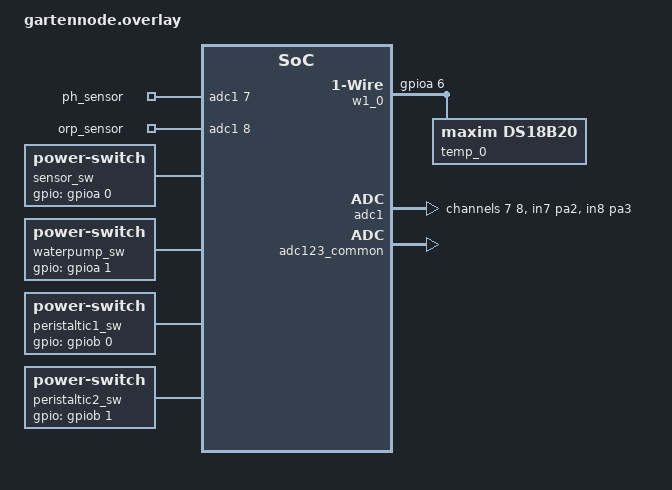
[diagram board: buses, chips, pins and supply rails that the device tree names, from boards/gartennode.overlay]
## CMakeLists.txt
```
cmake_minimum_required(VERSION 3.20.0)

list(APPEND BOARD_ROOT ${CMAKE_CURRENT_SOURCE_DIR})

macro(app_set_runner_args)
  board_runner_args(canopen "--node-id=${CONFIG_CANOPEN_NODE_ID}")
endmacro()

find_package(Zephyr REQUIRED HINTS $ENV{ZEPHYR_BASE})
project(gartennode_Poolmodul)
FILE(GLOB app_sources src/*.c)
if(NOT CONFIG_BOARD_NATIVE_SIM)
  list(FILTER app_sources EXCLUDE REGEX "/native_sim_ds18b20\\.c$")
endif()
target_sources(app PRIVATE ${app_sources} objdict/CO_OD.c)
zephyr_include_directories(objdict src)
```

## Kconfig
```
#
# Copyright (c) 2019 Vestas Wind Systems A/S
#
# SPDX-License-Identifier: Apache-2.0
#

config CANOPEN_NODE_ID
	int "CANopen node ID"
	default 10
	range 1 127
	help
	  7-bit CANopen Node ID

config CANOPEN_LOG_LEVEL
	int "CANopen application log level"
	default 4
	range 0 4
	help
	  Log level used by application modules that handle CANopen data.

config APP_NATIVE_SIM_PH_GAIN_MV_PER_PH
	int "Native-sim pH sensor gain (mV per pH)"
	default 150
	range 1 1000
	help
	  Test-only pH sensor transfer gain. This is independent of CANopen calibration.

config APP_NATIVE_SIM_PH_OFFSET_MV
	int "Native-sim pH sensor offset (mV)"
	default 600
	range 0 3300

config APP_NATIVE_SIM_ORP_GAIN_PER_MV
	int "Native-sim ORP sensor gain in milli-units"
	default 1000
	range 1 10000
	help
	  1000 represents unity voltage gain (1 mV at input produces 1 mV at ADC).

config APP_NATIVE_SIM_ORP_OFFSET_MV
	int "Native-sim ORP sensor offset (mV)"
	default 1650
	range 0 3300

config APP_NATIVE_SIM_IPC_PORT
	int "Native-sim sensor IPC UDP port"
	default 46003
	range 1024 65535

config APP_NATIVE_SIM_COMPANION_IPC_PORT
	int "Native-sim companion IPC UDP port"
	default 46004
	range 1024 65535

config POOL_UPDATE_DIAGNOSTICS
	bool "Record CANopen update timing and reset causes"
	depends on CANOPENNODE_PROGRAM_DOWNLOAD && SOC_FAMILY_STM32
	select HWINFO
	select LOG_RUNTIME_FILTERING
	help
	  Record download progress and callback latency without changing the
	  flash operation. Suppress sensor log noise to preserve diagnostic
	  buffer space. Intended for hardware update regression tests.

# Match the installed Gartennode MCUboot, not Zephyr's offset-swap default.
# Defaults also leave native_sim, which does not use MCUboot, unaffected.
choice MCUBOOT_BOOTLOADER_MODE
	default MCUBOOT_BOOTLOADER_MODE_SWAP_SCRATCH if BOARD_GARTENNODE && BOOTLOADER_MCUBOOT
endchoice

config MCUBOOT_IMGTOOL_SIGN_VERSION
	default "0.1.0" if BOARD_GARTENNODE && BOOTLOADER_MCUBOOT

config MCUBOOT_EXTRA_IMGTOOL_ARGS
	default "--pad" if BOARD_GARTENNODE && BOOTLOADER_MCUBOOT

source "Kconfig.zephyr"
```

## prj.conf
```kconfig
# Print a banner on the UART on startup.
CONFIG_BOOT_BANNER=y

CONFIG_LOG=y
CONFIG_LOG_BACKEND_UART=y
CONFIG_MULTITHREADING=y
CONFIG_WATCHDOG=y
CONFIG_TASK_WDT=y
CONFIG_TASK_WDT_MIN_TIMEOUT=500
CONFIG_THREAD_NAME=y
CONFIG_HEAP_MEM_POOL_SIZE=1024

CONFIG_GPIO=y
CONFIG_ADC=y
CONFIG_W1=y
CONFIG_SENSOR=y
CONFIG_SENSOR_LOG_LEVEL_DBG=y

CONFIG_CAN=y
#CONFIG_CAN_MAX_FILTER=13

CONFIG_MAIN_STACK_SIZE=2048

CONFIG_CANOPENNODE=y
CONFIG_CANOPENNODE_SYNC_THREAD=y
CONFIG_CANOPENNODE_STORAGE=y
CONFIG_CANOPENNODE_LEDS=y
CONFIG_CANOPENNODE_PROGRAM_DOWNLOAD=y
CONFIG_CANOPEN_NODE_ID=9

CONFIG_LOG_PRINTK=y
CONFIG_REBOOT=y
CONFIG_UART_CONSOLE=y
CONFIG_SERIAL=y
CONFIG_CONSOLE=y
# Enable Zephyr application to be booted by MCUboot
CONFIG_BOOTLOADER_MCUBOOT=y

# PROGRAM_CTRL_CLEAR erases the complete secondary slot before download.
# Do not erase sectors again while handling SDO data.
CONFIG_IMG_ERASE_PROGRESSIVELY=n
CONFIG_STREAM_FLASH_ERASE=n

# Use the default MCUBoot PEM key file (BOOT_SIGNATURE_KEY_FILE)
CONFIG_MCUBOOT_SIGNATURE_KEY_FILE="bootloader/mcuboot/gartennode.pem"
```

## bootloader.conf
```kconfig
# Gartennode has a 192 KiB external secondary slot and a separate scratch area.
CONFIG_BOOT_SWAP_USING_SCRATCH=y
CONFIG_BOOT_SIGNATURE_TYPE_ED25519=y
CONFIG_BOOT_SIGNATURE_KEY_FILE="gartennode.pem"
CONFIG_BOOT_VALIDATE_SLOT0=y
# Preserve the existing bootloader policy; the application's watchdog is separate.
CONFIG_WATCHDOG=n
```

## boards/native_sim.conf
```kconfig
CONFIG_BOOTLOADER_MCUBOOT=n
CONFIG_CANOPENNODE_PROGRAM_DOWNLOAD=n
CONFIG_MCUBOOT_SIGNATURE_KEY_FILE=""
CONFIG_WDT_DISABLE_AT_BOOT=n
CONFIG_WATCHDOG=n
CONFIG_WDT_LOG_LEVEL_DBG=n
CONFIG_EMUL=y
CONFIG_UART_EMUL=y
CONFIG_CAN_NATIVE_UDP=y
CONFIG_CAN=y
CONFIG_CAN_LOOPBACK=y
CONFIG_SETTINGS=y
CONFIG_FLASH=y
CONFIG_FLASH_PAGE_LAYOUT=y
CONFIG_FLASH_MAP=y
CONFIG_NVS=y
CONFIG_CANOPENNODE_STORAGE=y
# Keep the CANopen loop ahead of the UDP RX worker after a wakeup.
CONFIG_CAN_NATIVE_UDP_RX_THREAD_PRIORITY=1

CONFIG_APP_NATIVE_SIM_ORP_OFFSET_MV=1320
```

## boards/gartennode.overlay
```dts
/*
 * Copyright (c) 2022 Google LLC.
 *
 * SPDX-License-Identifier: Apache-2.0
 */

/ {
	zephyr,user {
		io-channels = <&adc1 7>, <&adc1 8>;
		io-channel-names = "ph_sensor", "orp_sensor";
	};
	sensor_sw: sensor_sw {
		compatible = "power-switch";
		gpios = <&gpioa 0 (GPIO_PULL_DOWN | GPIO_ACTIVE_HIGH)>;
		status = "okay";
	};
	waterpump_sw: waterpump_sw {
		compatible = "power-switch";
		gpios = <&gpioa 1 (GPIO_PULL_DOWN | GPIO_ACTIVE_HIGH)>;
		status = "okay";
	};

	peristaltic1_sw: peristaltic1_sw {
		compatible = "power-switch";
		/* using built-in LED pin for demonstration */
		gpios = <&gpiob 0 (GPIO_PULL_DOWN | GPIO_ACTIVE_HIGH)>;
		status = "okay";
	};
	peristaltic2_sw: peristaltic2_sw {
		compatible = "power-switch";
		gpios = <&gpiob 1 (GPIO_PULL_DOWN | GPIO_ACTIVE_HIGH)>;
		status = "okay";
	};

	w1_0: w1-zephyr-gpio-0 {
		compatible = "zephyr,w1-gpio";
		gpios = <&gpioa 6 (GPIO_ACTIVE_HIGH|GPIO_OPEN_DRAIN|GPIO_PULL_UP)>;
		status = "okay";

		temp_0: ds18b200 {
			compatible = "maxim,ds18b20";
			family-code = <0x28>;
			resolution = <12>;
			status = "okay";
		};
	};

	aliases {
		green-led = &green_led;
	};
};

&adc1 {
	#address-cells = <1>;
	#size-cells = <0>;

	/* pinctrl-0 = <&adc1_in5_pa0 &adc1_in6_pa1 &adc1_in7_pa2 &adc1_in8_pa3 &adc1_in9_pa4 &adc1_in10_pa5 &adc1_in11_pa6 &adc1_in12_pa7>; */
	pinctrl-0 = <&adc1_in7_pa2 &adc1_in8_pa3>;
	pinctrl-names = "default";
	status = "okay";

	channel@7 {
		reg = <7>;
		zephyr,gain = "ADC_GAIN_1";
		zephyr,reference = "ADC_REF_INTERNAL";
		zephyr,acquisition-time = <ADC_ACQ_TIME_DEFAULT>;
		zephyr,resolution = <12>;
	};

	channel@8 {
		reg = <8>;
		zephyr,gain = "ADC_GAIN_1";
		zephyr,reference = "ADC_REF_INTERNAL";
		zephyr,acquisition-time = <ADC_ACQ_TIME_DEFAULT>;
		zephyr,resolution = <12>;
	};
};

&adc123_common {
	st,adc-clock-source = "SYNC";
	st,adc-prescaler = <4>;
	status = "okay";
};
```

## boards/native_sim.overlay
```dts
/ {
	chosen {
		zephyr,canbus = &can_udp0;
	};

	zephyr,user {
		io-channels = <&adc0 0>, <&adc0 1>;
		io-channel-names = "ph_sensor", "orp_sensor";
	};

	can_udp0: udp-can {
		compatible = "zephyr,native-linux-udp-can";
		host = "127.0.0.1";
		port = <4001>;
		local-port = <4002>;
		status = "okay";
	};

	sensor_sw: sensor_sw {
		compatible = "power-switch";
		gpios = <&gpio0 0 (GPIO_PULL_DOWN | GPIO_ACTIVE_HIGH)>;
		status = "okay";
	};

	waterpump_sw: waterpump_sw {
		compatible = "power-switch";
		gpios = <&gpio0 1 (GPIO_PULL_DOWN | GPIO_ACTIVE_HIGH)>;
		status = "okay";
	};

	peristaltic1_sw: peristaltic1_sw {
		compatible = "power-switch";
		gpios = <&gpio0 2 (GPIO_PULL_DOWN | GPIO_ACTIVE_HIGH)>;
		status = "okay";
	};

	peristaltic2_sw: peristaltic2_sw {
		compatible = "power-switch";
		gpios = <&gpio0 3 (GPIO_PULL_DOWN | GPIO_ACTIVE_HIGH)>;
		status = "okay";
	};

	uart_emul: uart-emul {
		compatible = "zephyr,uart-emul";
		current-speed = <115200>;
		rx-fifo-size = <64>;
		tx-fifo-size = <64>;
		status = "okay";

		w1_0: w1-bus {
			compatible = "zephyr,w1-serial";
			status = "okay";

			temp_0: ds18b200 {
				compatible = "maxim,ds18b20";
				family-code = <0x28>;
				resolution = <12>;
				status = "okay";
			};
		};
	};

	aliases {
		green-led = &led0;
	};
};

&adc0 {
	#address-cells = <1>;
	#size-cells = <0>;
	status = "okay";
	ref-internal-mv = <3300>;

	channel@0 {
		reg = <0>;
		zephyr,gain = "ADC_GAIN_1";
		zephyr,reference = "ADC_REF_INTERNAL";
		zephyr,acquisition-time = <ADC_ACQ_TIME_DEFAULT>;
		zephyr,resolution = <12>;
	};

	channel@1 {
		reg = <1>;
		zephyr,gain = "ADC_GAIN_1";
		zephyr,reference = "ADC_REF_INTERNAL";
		zephyr,acquisition-time = <ADC_ACQ_TIME_DEFAULT>;
		zephyr,resolution = <12>;
	};
};
```

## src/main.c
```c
/*
 * Copyright (c) 2019 Vestas Wind Systems A/S
 *
 * SPDX-License-Identifier: Apache-2.0
 */

#if defined(CONFIG_BOARD_NATIVE_SIM)
#define _POSIX_C_SOURCE 200809L
#include <time.h>
#endif

#include <inttypes.h>
#include <zephyr/kernel.h>
#include <zephyr/drivers/gpio.h>
#include <zephyr/sys/reboot.h>
#include <zephyr/settings/settings.h>
#include <zephyr/drivers/sensor.h>
#include <zephyr/drivers/sensor/w1_sensor.h>
#include <zephyr/storage/flash_map.h>
#include <zephyr/sys/printk.h>
#include <canopennode.h>
#if defined(CONFIG_BOARD_NATIVE_SIM)
K_SEM_DEFINE(can_rx_wakeup, 0, 1);
static void native_sim_can_rx_wakeup(void)
{
	k_sem_give(&can_rx_wakeup);
}

static int64_t native_sim_monotonic_ms(void)
{
	struct timespec now;

	clock_gettime(CLOCK_MONOTONIC, &now);
	return (int64_t)now.tv_sec * 1000 + now.tv_nsec / 1000000;
}
#endif
#include "watchdog.h"
#include "update_control.h"
#include "update_diagnostics.h"
#include "sensor.h"
#include "orp_measurement.h"
#include "ph_measurement.h"
#include "temperature_measurement.h"
#if defined(CONFIG_BOARD_NATIVE_SIM)
#include "native_sim_sensor.h"
#endif
#include "waterpump.h"
#include "led.h"

#define LOG_LEVEL CONFIG_CANOPEN_LOG_LEVEL
#include <zephyr/logging/log.h>
LOG_MODULE_REGISTER(app);

static CO_SDO_abortCode_t odf_2102(CO_ODF_arg_t *odf_arg);
static CO_SDO_abortCode_t odf_2103(CO_ODF_arg_t *odf_arg);
static CO_SDO_abortCode_t odf_2108(CO_ODF_arg_t *odf_arg);
static CO_SDO_abortCode_t odf_2112(CO_ODF_arg_t *odf_arg);

#define STORAGE_PARTITION	storage_partition
#define STORAGE_PARTITION_ID	PARTITION_ID(STORAGE_PARTITION)

#define CAN_INTERFACE DEVICE_DT_GET(DT_CHOSEN(zephyr_canbus))
#define CAN_BITRATE (DT_PROP_OR(DT_CHOSEN(zephyr_canbus), bitrate, \
					  DT_PROP_OR(DT_CHOSEN(zephyr_canbus), bus_speed, \
						     CONFIG_CAN_DEFAULT_BITRATE)) / 1000)


/**
 * @brief Watchdog callback function
 *
 * @param channel_id Watchdog channel ID
 * @param user_data Pointer to user data (thread ID)
 */
static void main_watchdog_callback(int channel_id, void *user_data)
{
    LOG_ERR("Watchdog channel %d callback, user data: %p",
        channel_id, k_thread_name_get((k_tid_t)user_data));
	sys_reboot(SYS_REBOOT_COLD);
}

/**
 * @brief Configure LED indicators pins and callbacks.
 *
 * This routine configures the GPIOs for the red and green LEDs (if
 * available).
 *
 * @param nmt CANopenNode NMT object.
 */
static void initialize()
{
	if (led_init() != 0) {
		LOG_ERR("LED initialization failed");
	}
#if defined(CONFIG_BOARD_NATIVE_SIM)
	/* Bind the virtual sensor IPC before the sensor thread reads its EEPROM ID. */
	if (native_sim_sensor_init() != 0) {
		LOG_ERR("Native-sim sensor model initialization failed");
	}
#endif
	if (sensor_init() != 0) {
		LOG_ERR("Sensor initialization failed");
	}
	if (waterpump_init() != 0) {
		LOG_ERR("Waterpump initialization failed");
	}
	// if (watchdog_init() != 0) {
	// 	LOG_ERR("Watchdog initialization failed");
	// }
}

/**
 * @brief Set sensor Enable
 *
 * @param odf_arg SDO argument structure.
 * @return SDO abort code.
 */
static CO_SDO_abortCode_t odf_2102(CO_ODF_arg_t *odf_arg)
{
	if (odf_arg->reading) {
		return CO_SDO_AB_NONE;
	}

	uint8_t value;

	if (odf_arg->data == NULL) {
		return CO_SDO_AB_GENERAL;
	}
	value = *odf_arg->data;
	
	int ret = sensor_enable(value);
	LOG_DBG("sensor_enable returned %d", ret);
	if (ret == 0 || ret == 1) {
		return CO_SDO_AB_NONE;
	}
	return CO_SDO_AB_GENERAL;
}

/**
 * @brief Set sensor period
 *
 * @param odf_arg SDO argument structure.
 * @return SDO abort code.
 */
static CO_SDO_abortCode_t odf_2103(CO_ODF_arg_t *odf_arg)
{
	if (odf_arg->reading) {
		return CO_SDO_AB_NONE;
	}
	if (odf_arg->data == NULL) {
		return CO_SDO_AB_GENERAL;
	}
	uint8_t value;
	value = *odf_arg->data;
	LOG_DBG("Set sensor period to %d ms", value);
	return CO_SDO_AB_NONE;
}

/**
 * @brief Set pH sample count
 *
 * This SDO allows updating the number of samples used for pH averaging.
 */
static CO_SDO_abortCode_t odf_2108(CO_ODF_arg_t *odf_arg)
{
	if (odf_arg->reading) {
		return CO_SDO_AB_NONE;
	}

	if (odf_arg->data == NULL) {
		return CO_SDO_AB_GENERAL;
	}

	uint8_t value = *odf_arg->data;

	if (value == 0) {
		LOG_ERR("Invalid pH sample count: 0");
		return CO_SDO_AB_GENERAL;
	}

	CO_LOCK_OD();
	OD_PHSamples = value;
	CO_UNLOCK_OD();

	int ret = ph_measurement_set_sample_count(value);
	LOG_DBG("ph_measurement_set_sample_count returned %d", ret);
	if (ret == 0) {
		return CO_SDO_AB_NONE;
	}
	return CO_SDO_AB_GENERAL;
}

/**
 * @brief Set orp sample count
 *
 * @param odf_arg SDO argument structure.
 * @return SDO abort code.
 */
static CO_SDO_abortCode_t odf_2112(CO_ODF_arg_t *odf_arg)
{
	if (odf_arg->reading) {
		return CO_SDO_AB_NONE;
	}

	if (odf_arg->data == NULL) {
		return CO_SDO_AB_GENERAL;
	}

	uint8_t value = *odf_arg->data;

	/* value represents the number of ORP samples to average */
	if (value == 0) {
		LOG_ERR("Invalid ORP sample count: 0");
		return CO_SDO_AB_GENERAL;
	}

	/* Update EEPROM value under OD lock */
	CO_LOCK_OD();
	OD_ORPSamples = value;
	CO_UNLOCK_OD();

	/* Ask ORP module to resize its sample buffer. This function uses
	 * an internal mutex to prevent races with measurements.
	 */
	int ret = orp_measurement_set_sample_count(value);
	LOG_DBG("orp_measurement_set_sample_count returned %d", ret);
	if (ret == 0) {
		return CO_SDO_AB_NONE;
	}
	return CO_SDO_AB_GENERAL;
}

/**
 * @brief Main application entry point.
 *
 * The main application thread is responsible for initializing the
 * CANopen stack and doing the non real-time processing.
 */
int main(void)
{
	CO_NMT_reset_cmd_t reset = CO_RESET_NOT;
	CO_ReturnError_t err;
	struct canopen_context can;
	uint16_t timeout;
	uint32_t elapsed;
	int64_t timestamp;
#if defined(CONFIG_BOARD_NATIVE_SIM)
	int64_t native_sim_last_process;
	bool native_sim_nmt_started;
#endif
	int task_id = -1;
#ifdef CONFIG_CANOPENNODE_STORAGE
	int ret;
#endif /* CONFIG_CANOPENNODE_STORAGE */
	can.dev = CAN_INTERFACE;
	if (!device_is_ready(can.dev)) {
		LOG_ERR("CAN interface not ready");
		return 0;
	}

#ifdef CONFIG_CANOPENNODE_STORAGE
	LOG_INF("Initializing settings subsystem\n");
	ret = settings_subsys_init();
	if (ret) {
		LOG_ERR("failed to initialize settings subsystem (err = %d)",
			ret);
		int error = 0;
		const struct flash_area *storage = NULL;
		// Open the partition
		error = flash_area_open(PARTITION_ID(storage_partition), &storage);
		if (error < 0) {
			return error;
		}

		// Erase the first sector (e.g., 4KB)
		error = flash_area_erase(storage, 0, PARTITION_SIZE(storage_partition));
		if (error < 0) {
			return error;
		}
		sys_reboot(SYS_REBOOT_COLD);
	}

	ret = settings_load();
	if (ret) {
		LOG_ERR("failed to load settings (err = %d)", ret);
		return 0;
	}
#endif /* CONFIG_CANOPENNODE_STORAGE */

	OD_powerOnCounter++;

	//task_id = watchdog_add(2000, main_watchdog_callback, NULL);
	if (task_id < 0) {
		LOG_ERR("Failed to add watchdog channel");
	}

	while (reset != CO_RESET_APP) {
		elapsed =  0U; /* milliseconds */
#if defined(CONFIG_BOARD_NATIVE_SIM)
		native_sim_nmt_started = false;
#endif

		LOG_INF("CANopen stack initialize");
		err = CO_init(&can, CONFIG_CANOPEN_NODE_ID, CAN_BITRATE);
		if (err != CO_ERROR_NO) {
			LOG_ERR("CO_init failed (err = %d)", err);
			return 0;
		}
		LOG_INF("CANopen stack initialized");
#if !defined(CONFIG_BOARD_NATIVE_SIM)
		CO_NMT_setInternalState(CO->NMT, CO_NMT_OPERATIONAL);
		CO->NMT->HBproducerTimer = 0U;
#endif

#ifdef CONFIG_CANOPENNODE_STORAGE
		canopen_storage_attach(CO->SDO[0], CO->em);
#endif /* CONFIG_CANOPENNODE_STORAGE */

		initialize();
		led_configure(CO->NMT);
		CO_OD_configure(CO->SDO[0], OD_2102_sensorEnable,
				odf_2102, NULL, 0U, 0U);
		CO_OD_configure(CO->SDO[0], OD_2103_sensorPeriode,
				odf_2103, NULL, 0U, 0U);
		CO_OD_configure(CO->SDO[0], OD_2108_PHSamples,
				odf_2108, NULL, 0U, 0U);
		CO_OD_configure(CO->SDO[0], OD_2112_ORPSamples,
				odf_2112, NULL, 0U, 0U);

		if (IS_ENABLED(CONFIG_CANOPENNODE_PROGRAM_DOWNLOAD)) {
			canopen_program_download_attach(CO->NMT, CO->SDO[0],
							CO->em);
			pool_update_control_attach(CO->SDO[0]);
#if defined(CONFIG_POOL_UPDATE_DIAGNOSTICS)
			pool_update_diagnostics_attach(CO->SDO[0]);
#endif
		}

		sensor_enable(OD_sensorEnable);

#if defined(CONFIG_BOARD_NATIVE_SIM)
		canopen_set_rxmsg_callback(native_sim_can_rx_wakeup);
#endif
		CO_CANsetNormalMode(CO->CANmodule[0]);
		struct sCO_OD_EEPROM eeprom_old = CO_OD_EEPROM;
#if defined(CONFIG_BOARD_NATIVE_SIM)
		native_sim_last_process = native_sim_monotonic_ms();
#endif

		while (true) {
			timeout = 1U; /* default timeout in milliseconds */
			timestamp = k_uptime_get();
#if defined(CONFIG_BOARD_NATIVE_SIM)
			/* UDP and simulator scheduling need not advance kernel uptime. */
			int64_t now_ms = native_sim_monotonic_ms();
			uint32_t elapsed_ms = (uint32_t)(now_ms - native_sim_last_process);

			elapsed = elapsed_ms;
			if (elapsed_ms > 0U) {
				native_sim_last_process = now_ms;
			}
#endif
			reset = CO_process(CO, (uint16_t)elapsed, &timeout);

#if defined(CONFIG_BOARD_NATIVE_SIM)
			if (!native_sim_nmt_started) {
				/* CO_process emits boot-up before the Operational heartbeat. */
				CO_NMT_setInternalState(CO->NMT, CO_NMT_OPERATIONAL);
				CO->NMT->HBproducerTimer = OD_producerHeartbeatTime;
				reset = CO_process(CO, 0U, &timeout);
				native_sim_nmt_started = true;
				LOG_INF("Native-sim CANopen node entered OPERATIONAL");
			}
			int sensor_updates = native_sim_sensor_process();
			if (sensor_updates > 0 && OD_sensorEnable != 0U) {
				/* Apply emulated input immediately; the sensor thread continues periodic sampling. */
				(void)ph_measurement_read();
				(void)orp_measurement_read();
				(void)temperature_measurement_read();
				sensor_wakeup();
			}
#endif

			if (reset != CO_RESET_NOT) {
				break;
			}

			if (timeout > 0) {
				sensor_process();
				waterpump_process();
#ifdef CONFIG_CANOPENNODE_STORAGE
				ret = memcmp(&eeprom_old, &CO_OD_EEPROM, sizeof(CO_OD_EEPROM));
				if (ret != 0) {
					LOG_DBG("EEPROM changed, saving to flash");
					memcpy(&eeprom_old, &CO_OD_EEPROM, sizeof(CO_OD_EEPROM));
					ret = canopen_storage_save(
						CANOPEN_STORAGE_EEPROM);
					if (ret) {
						LOG_ERR("failed to save EEPROM");
					}
				}

#endif /* CONFIG_CANOPENNODE_STORAGE */
				if (task_id >= 0) {
					int ret = watchdog_feed(task_id);
					if (ret != 0) {
						LOG_ERR("Failed to feed watchdog channel %d: %d", task_id, ret);
					}
				}
				/*
				 * Try to sleep for as long as the
				 * stack requested and calculate the
				 * exact time elapsed.
				 */
#if defined(CONFIG_BOARD_NATIVE_SIM)
				/* Bound the wait so sensor IPC and actor feedback keep running. */
				(void)k_sem_take(&can_rx_wakeup, K_MSEC(MIN(timeout, 1U)));
#else
				k_sleep(K_MSEC(timeout));
#endif
				elapsed = (uint32_t)k_uptime_delta(&timestamp);
			} else {
				/*
				 * Do not sleep, more processing to be
				 * done by the stack.
				 */
				elapsed = 0U;
#if defined(CONFIG_BOARD_NATIVE_SIM)
				k_sleep(K_MSEC(1));
#endif
			}
		}

		sensor_enable(false);

		if (reset == CO_RESET_COMM) {
			LOG_INF("Resetting communication");
		}
	}
	if (task_id >= 0) {
		int ret = watchdog_delete(task_id);
		if (ret != 0) {
			LOG_ERR("Failed to delete watchdog channel %d: %d", task_id, ret);
		}
	}

	LOG_INF("Resetting device");

	CO_delete(&can);
	sys_reboot(SYS_REBOOT_COLD);
}
```

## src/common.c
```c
#include "common.h"
#include <stdio.h>

double averagearray(uint16_t* arr, int number){
  int i;
  int max,min;
  double avg;
  long amount=0;
  if(number<=0){
    printf("Error number for the array to avraging!\n");
    return 0;
  }
  if(number<5){   //less than 5, calculated directly statistics
    for(i=0;i<number;i++){
      amount+=arr[i];
    }
    avg = amount/number;
    return avg;
  }else{
    if(arr[0]<arr[1]){
      min = arr[0];max=arr[1];
    }
    else{
      min=arr[1];max=arr[0];
    }
    for(i=2;i<number;i++){
      if(arr[i]<min){
        amount+=min;        //arr<min
        min=arr[i];
      }else {
        if(arr[i]>max){
          amount+=max;    //arr>max
          max=arr[i];
        }else{
          amount+=arr[i]; //min<=arr<=max
        }
      }//if
    }//for
    avg = (double)amount/(number-2);
  }//if
  return avg;
}
```

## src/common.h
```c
#ifndef _COMMON_H
#define _COMMON_H

#include <zephyr/kernel.h>
#include <canopennode.h>

double averagearray(uint16_t* arr, int number);

#endif /* _COMMON_H */
```

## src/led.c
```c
#include <zephyr/kernel.h>
#include <zephyr/drivers/gpio.h>
#include <zephyr/logging/log.h>
#include "led.h"

LOG_MODULE_REGISTER(led);

static void led_callback(bool value, void *arg);

static struct gpio_dt_spec led_green_gpio = GPIO_DT_SPEC_GET_OR(
		DT_ALIAS(green_led), gpios, {0});
static struct gpio_dt_spec led_red_gpio = GPIO_DT_SPEC_GET_OR(
		DT_ALIAS(red_led), gpios, {0});

/**
 * @brief Initialize LED indicators pins.
 *
 * This routine configures the GPIOs for the red and green LEDs (if
 * available).
 *
 * @return 0 on success, negative error code on failure.
 */
int led_init(void)
{
    int err;

    if (!led_green_gpio.port) {
        LOG_DBG("Green LED not available");
    } else if (!gpio_is_ready_dt(&led_green_gpio)) {
        LOG_ERR("Green LED device not ready");
        led_green_gpio.port = NULL;
    } else {
        err = gpio_pin_configure_dt(&led_green_gpio,
                        GPIO_OUTPUT_INACTIVE);
        if (err) {
            LOG_ERR("failed to configure Green LED gpio: %d", err);
            led_green_gpio.port = NULL;
        }
    }

    if (!led_red_gpio.port) {
        LOG_DBG("Red LED not available");
    } else if (!gpio_is_ready_dt(&led_red_gpio)) {
        LOG_ERR("Red LED device not ready");
        led_red_gpio.port = NULL;
    } else {
        err = gpio_pin_configure_dt(&led_red_gpio,
                        GPIO_OUTPUT_INACTIVE);
        if (err) {
            LOG_ERR("failed to configure Red LED gpio: %d", err);
            led_red_gpio.port = NULL;
        }
    }

    return 0;
}

/**
 * @brief Callback for setting LED indicator state.
 *
 * @param value true if the LED indicator shall be turned on, false otherwise.
 * @param arg argument that was passed when LEDs were initialized.
 */
static void led_callback(bool value, void *arg)
{
	struct gpio_dt_spec *led_gpio = arg;

	if (!led_gpio || !led_gpio->port) {
		return;
	}

	gpio_pin_set_dt(led_gpio, value);
}

void led_configure(CO_NMT_t *nmt) {
    canopen_leds_init(nmt,
              led_callback, &led_green_gpio,
              led_callback, &led_red_gpio);
}
```

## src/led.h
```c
#ifndef _LED_H
#define _LED_H

#include <zephyr/kernel.h>
#include <zephyr/drivers/gpio.h>
#include <canopennode.h>

int led_init(void);
void led_configure(CO_NMT_t *nmt);

#endif /* _LED_H */
```

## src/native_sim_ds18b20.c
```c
#include "native_sim_ds18b20.h"

#include <errno.h>

#include <zephyr/sys/util.h>

#if defined(CONFIG_BOARD_NATIVE_SIM)
#include <math.h>
#include <string.h>

#include <zephyr/device.h>
#include <zephyr/drivers/serial/uart_emul.h>
#include <zephyr/drivers/uart.h>
#include <zephyr/drivers/w1.h>
#include <zephyr/kernel.h>
#include <zephyr/logging/log.h>
#include <zephyr/sys/atomic.h>

LOG_MODULE_REGISTER(native_sim_ds18b20, LOG_LEVEL_INF);

#define DS18B20_ROM_COMMAND 0xF0
#define DS18B20_MATCH_ROM 0x55
#define DS18B20_SKIP_ROM 0xCC
#define DS18B20_READ_ROM 0x33
#define DS18B20_CONVERT_T 0x44
#define DS18B20_READ_SCRATCHPAD 0xBE
#define DS18B20_WRITE_SCRATCHPAD 0x4E
#define DS18B20_READ_POWER 0xB4

enum emulator_phase {
	PHASE_ROM_COMMAND,
	PHASE_SEARCH,
	PHASE_MATCH_ROM,
	PHASE_FUNCTION_COMMAND,
	PHASE_WRITE_SCRATCHPAD,
	PHASE_READ_ROM,
	PHASE_READ_SCRATCHPAD,
	PHASE_READ_POWER,
};

struct ds18b20_model {
	enum emulator_phase phase;
	uint8_t rom[8];
	uint8_t scratchpad[9];
	uint8_t input_byte;
	uint8_t input_bit;
	uint8_t match_index;
	uint8_t search_bit;
	uint8_t search_slot;
	uint8_t read_index;
	uint8_t read_bit;
	bool selected;
};

static struct ds18b20_model model = {
	/* 28-000000000001, with a valid Maxim CRC-8. */
	.rom = { 0x28, 0x01, 0, 0, 0, 0, 0, 0x29 },
};
static atomic_t temperature_sixteenths = ATOMIC_INIT(22 * 16);
static const struct device *const uart_dev = DEVICE_DT_GET(DT_NODELABEL(uart_emul));
static const struct device *const w1_dev = DEVICE_DT_GET(DT_NODELABEL(w1_0));

static void count_rom(struct w1_rom rom, void *user_data)
{
	size_t *count = user_data;

	if (rom.family == 0x28 && rom.crc == w1_crc8((const uint8_t *)&rom, 7)) {
		(*count)++;
	}
}

static void model_reset(void)
{
	model.phase = PHASE_ROM_COMMAND;
	model.input_byte = 0;
	model.input_bit = 0;
	model.match_index = 0;
	model.search_bit = 0;
	model.search_slot = 0;
	model.read_index = 0;
	model.read_bit = 0;
	model.selected = true;
}

static void prepare_scratchpad(void)
{
	int16_t raw = (int16_t)atomic_get(&temperature_sixteenths);

	model.scratchpad[0] = (uint8_t)raw;
	model.scratchpad[1] = (uint8_t)((uint16_t)raw >> 8);
	model.scratchpad[2] = 75;
	model.scratchpad[3] = 70;
	model.scratchpad[4] = 0x7F;
	model.scratchpad[5] = 0xFF;
	model.scratchpad[6] = 0x0C;
	model.scratchpad[7] = 0x10;
	model.scratchpad[8] = w1_crc8(model.scratchpad, 8);
}

static void command_received(uint8_t command)
{
	switch (model.phase) {
	case PHASE_ROM_COMMAND:
		switch (command) {
		case DS18B20_ROM_COMMAND:
			model.phase = PHASE_SEARCH;
			model.search_bit = 0;
			model.search_slot = 0;
			break;
		case DS18B20_MATCH_ROM:
			model.phase = PHASE_MATCH_ROM;
			model.match_index = 0;
			break;
		case DS18B20_SKIP_ROM:
			model.selected = true;
			model.phase = PHASE_FUNCTION_COMMAND;
			break;
		case DS18B20_READ_ROM:
			model.phase = PHASE_READ_ROM;
			model.read_index = 0;
			model.read_bit = 0;
			break;
		default:
			model.selected = false;
			break;
		}
		break;
	case PHASE_MATCH_ROM:
		if (command != model.rom[model.match_index++]) {
			model.selected = false;
		}
		if (model.match_index == sizeof(model.rom)) {
			model.phase = model.selected ? PHASE_FUNCTION_COMMAND : PHASE_ROM_COMMAND;
		}
		break;
	case PHASE_FUNCTION_COMMAND:
		switch (command) {
		case DS18B20_CONVERT_T:
			/* Conversion is instantaneous in the virtual sensor. */
			model.phase = PHASE_ROM_COMMAND;
			break;
		case DS18B20_READ_SCRATCHPAD:
			prepare_scratchpad();
			model.phase = PHASE_READ_SCRATCHPAD;
			model.read_index = 0;
			model.read_bit = 0;
			break;
		case DS18B20_WRITE_SCRATCHPAD:
			model.phase = PHASE_WRITE_SCRATCHPAD;
			model.match_index = 0;
			break;
		case DS18B20_READ_POWER:
			model.phase = PHASE_READ_POWER;
			model.read_index = 0;
			model.read_bit = 0;
			break;
		default:
			model.phase = PHASE_ROM_COMMAND;
			break;
		}
		break;
	case PHASE_WRITE_SCRATCHPAD:
		/* Accept TH, TL, and configuration bytes as a real DS18B20 does. */
		model.scratchpad[2 + model.match_index++] = command;
		if (model.match_index == 3) {
			model.phase = PHASE_FUNCTION_COMMAND;
			model.match_index = 0;
		}
		break;
	default:
		break;
	}
}

static uint8_t read_slot_response(void)
{
	uint8_t value;
	uint8_t result;

	/* A device with a non-matching MATCH ROM must not drive the bus. */
	if (!model.selected && model.phase != PHASE_SEARCH) {
		return 0xFF;
	}

	if (model.phase == PHASE_SEARCH) {
		uint8_t rom_bit = (model.rom[model.search_bit / 8] >>
				   (model.search_bit % 8)) & 1;
		result = model.search_slot == 0 ? rom_bit : !rom_bit;
		model.search_slot++;
		/* The third slot is the master's branch choice. */
		return result ? 0xFF : 0x00;
	}

	switch (model.phase) {
	case PHASE_READ_ROM:
		value = model.rom[model.read_index];
		break;
	case PHASE_READ_SCRATCHPAD:
		value = model.scratchpad[model.read_index];
		break;
	case PHASE_READ_POWER:
		value = 0xFF; /* External-powered device. */
		break;
	default:
		return 0xFF;
	}
	result = (value >> model.read_bit) & 1;
	if (++model.read_bit == 8) {
		model.read_bit = 0;
		if (model.phase == PHASE_READ_ROM && ++model.read_index == sizeof(model.rom)) {
			model.phase = PHASE_ROM_COMMAND;
		} else if (model.phase == PHASE_READ_SCRATCHPAD &&
			   ++model.read_index == sizeof(model.scratchpad)) {
			model.phase = PHASE_FUNCTION_COMMAND;
		} else if (model.phase == PHASE_READ_POWER) {
			model.phase = PHASE_FUNCTION_COMMAND;
		}
	}
	return result ? 0xFF : 0x00;
}

static uint8_t exchange_slot(uint8_t tx, uint32_t baudrate)
{
	bool released = tx == 0xFF;

	if (baudrate == 9600 && tx == 0xF0) {
		model_reset();
		return 0xE0; /* Reset echo modified by the presence pulse. */
	}
	/* Ignore function commands after another ROM was selected. */
	if (!model.selected && model.phase != PHASE_MATCH_ROM) {
		return 0xFF;
	}
	if (model.phase == PHASE_SEARCH) {
		if (model.search_slot == 2) {
			uint8_t expected = (model.rom[model.search_bit / 8] >>
					    (model.search_bit % 8)) & 1;

			if ((uint8_t)released != expected) {
				model.selected = false;
				model.phase = PHASE_ROM_COMMAND;
			}
			if (++model.search_bit == 64) {
				model.phase = model.selected ? PHASE_FUNCTION_COMMAND :
					PHASE_ROM_COMMAND;
			}
			model.search_slot = 0;
			return released ? 0xFF : 0x00;
		}
		return read_slot_response();
	}
	if (model.phase == PHASE_READ_ROM || model.phase == PHASE_READ_SCRATCHPAD ||
	    model.phase == PHASE_READ_POWER) {
		return read_slot_response();
	}

	if (released) {
		model.input_byte |= BIT(model.input_bit);
	}
	if (++model.input_bit == 8) {
		uint8_t byte = model.input_byte;

		model.input_byte = 0;
		model.input_bit = 0;
		command_received(byte);
	}
	return 0xFF;
}

static void uart_tx_ready(const struct device *dev, size_t size, void *user_data)
{
	uint8_t tx[64];
	uint8_t rx[64];
	struct uart_config config;
	uint32_t count;

	ARG_UNUSED(user_data);
	if (uart_config_get(dev, &config) != 0) {
		return;
	}
	count = uart_emul_get_tx_data(dev, tx, MIN(size, sizeof(tx)));
	for (uint32_t i = 0; i < count; i++) {
		rx[i] = exchange_slot(tx[i], config.baudrate);
	}
	(void)uart_emul_put_rx_data(dev, rx, count);
}

int native_sim_ds18b20_init(void)
{
	size_t devices_found = 0;
	struct w1_slave_config peripheral = {0};
	uint8_t scratchpad[9];
	uint8_t config[3] = { 75, 70, 0x7F };
	int16_t expected_temperature = (int16_t)atomic_get(&temperature_sixteenths);
	int found;

	if (!device_is_ready(uart_dev)) {
		return -ENODEV;
	}
	model_reset();
	uart_emul_callback_tx_data_ready_set(uart_dev, uart_tx_ready, NULL);
	if (!device_is_ready(w1_dev)) {
		return -ENODEV;
	}
	found = w1_search_rom(w1_dev, count_rom, &devices_found);
	if (found != 1 || devices_found != 1) {
		LOG_ERR("Virtual W1 bus search returned %d device(s), valid DS18B20 count %u",
			found, (unsigned int)devices_found);
		return -EIO;
	}
	memcpy(&peripheral.rom, model.rom, sizeof(model.rom));
	if (w1_reset_select(w1_dev, &peripheral) != 0 ||
	    w1_write_byte(w1_dev, DS18B20_WRITE_SCRATCHPAD) != 0 ||
	    w1_write_block(w1_dev, config, sizeof(config)) != 0 ||
	    w1_reset_select(w1_dev, &peripheral) != 0 ||
	    w1_write_byte(w1_dev, DS18B20_CONVERT_T) != 0 ||
	    w1_reset_select(w1_dev, &peripheral) != 0 ||
	    w1_write_byte(w1_dev, DS18B20_READ_SCRATCHPAD) != 0 ||
	    w1_read_block(w1_dev, scratchpad, sizeof(scratchpad)) != 0 ||
	    scratchpad[8] != w1_crc8(scratchpad, 8) ||
	    (int16_t)((uint16_t)scratchpad[1] << 8 | scratchpad[0]) !=
		    expected_temperature) {
		LOG_ERR("Virtual DS18B20 scratchpad request failed CRC/protocol validation");
		return -EIO;
	}
	LOG_INF("Virtual DS18B20 is responding on W1 (ROM 0x2801000000000029)");
	return 0;
}

int native_sim_ds18b20_set_rom(uint64_t rom_id)
{
	struct w1_rom rom;

	w1_uint64_to_rom(rom_id, &rom);
	if (rom.family != 0x28 || rom.crc != w1_crc8((const uint8_t *)&rom, 7)) {
		return -EINVAL;
	}
	if (w1_lock_bus(w1_dev) != 0) {
		return -EIO;
	}
	if (memcmp(model.rom, &rom, sizeof(model.rom)) == 0) {
		(void)w1_unlock_bus(w1_dev);
		return 0;
	}
	memcpy(model.rom, &rom, sizeof(model.rom));
	model_reset();
	(void)w1_unlock_bus(w1_dev);
	return 0;
}

void native_sim_ds18b20_set_temperature(double temperature_c)
{
	if (!isfinite(temperature_c)) {
		return;
	}
	temperature_c = CLAMP(temperature_c, -55.0, 125.0);
	atomic_set(&temperature_sixteenths, (atomic_val_t)lround(temperature_c * 16.0));
}
#else
int native_sim_ds18b20_init(void)
{
	return -ENOTSUP;
}

void native_sim_ds18b20_set_temperature(double temperature_c)
{
	ARG_UNUSED(temperature_c);
}

int native_sim_ds18b20_set_rom(uint64_t rom_id)
{
	ARG_UNUSED(rom_id);
	return -ENOTSUP;
}

#endif
```

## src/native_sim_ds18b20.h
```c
#ifndef APP_NATIVE_SIM_DS18B20_H_
#define APP_NATIVE_SIM_DS18B20_H_

#include <stdint.h>

int native_sim_ds18b20_init(void);
void native_sim_ds18b20_set_temperature(double temperature_c);
int native_sim_ds18b20_set_rom(uint64_t rom_id);

#endif
```

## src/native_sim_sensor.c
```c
#include "native_sim_sensor.h"

#include <errno.h>
#include <limits.h>
#include <math.h>
#include <stdlib.h>
#include <string.h>

#include <zephyr/devicetree.h>
#include <zephyr/drivers/w1.h>
#include <zephyr/kernel.h>
#include <zephyr/logging/log.h>
#include <zephyr/sys/util.h>
#include <canopennode.h>
#if defined(CONFIG_BOARD_NATIVE_SIM)
#include <zephyr/drivers/adc.h>
#include <zephyr/drivers/adc/adc_emul.h>
#include "native_sim_ds18b20.h"
#include <arpa/inet.h>
#include <netinet/in.h>
#include <sys/socket.h>
#include <unistd.h>
#endif

#define NATIVE_SIM_ADC_VREF_MV 3300U
#define NATIVE_SIM_PH_MIN 0.0
#define NATIVE_SIM_PH_MAX 14.0
#define NATIVE_SIM_ORP_MIN_MV (-1000)
#define NATIVE_SIM_ORP_MAX_MV 1000
#define NATIVE_SIM_IPC_MAX_PACKET_SIZE 512
#define NATIVE_SIM_IPC_HEADER_SIZE 8
#define NATIVE_SIM_IPC_TOPIC_SUFFIX_PH "/input/ph"
#define NATIVE_SIM_IPC_TOPIC_SUFFIX_ORP "/input/orp"
#define NATIVE_SIM_IPC_TOPIC_SUFFIX_TEMPERATURE "/environment/temperature"
#define NATIVE_SIM_IPC_TOPIC_SUFFIX_TEMPERATURE_ROM "/input/temperature_rom_id"
#define NATIVE_SIM_IPC_TOPIC_ROOT_MAX 220

LOG_MODULE_REGISTER(native_sim_sensor, LOG_LEVEL_INF);

int native_sim_ph_voltage_mv(double ph, int32_t gain_mv_per_ph, int32_t offset_mv,
			     uint32_t vref_mv, uint32_t *voltage_mv)
{
	double result;

	if (voltage_mv == NULL || !(ph >= NATIVE_SIM_PH_MIN && ph <= NATIVE_SIM_PH_MAX) ||
	    gain_mv_per_ph <= 0 || offset_mv < 0 || vref_mv == 0U) {
		return -EINVAL;
	}
	result = (ph * gain_mv_per_ph) + offset_mv;
	if (result < 0.0 || result > vref_mv) {
		return -ERANGE;
	}
	*voltage_mv = (uint32_t)(result + 0.5);
	return 0;
}

int native_sim_orp_voltage_mv(int32_t orp_mv, int32_t gain_milli, int32_t offset_mv,
			      uint32_t vref_mv, uint32_t *voltage_mv)
{
	int64_t scaled;
	int64_t result;

	if (voltage_mv == NULL || orp_mv < NATIVE_SIM_ORP_MIN_MV ||
	    orp_mv > NATIVE_SIM_ORP_MAX_MV || gain_milli <= 0 || offset_mv < 0 ||
	    vref_mv == 0U) {
		return -EINVAL;
	}
	scaled = (int64_t)orp_mv * gain_milli;
	result = (int64_t)offset_mv - (scaled >= 0 ? scaled + 500 : scaled - 500) / 1000;
	if (result < 0 || result > vref_mv) {
		return -ERANGE;
	}
	*voltage_mv = (uint32_t)result;
	return 0;
}

#if defined(CONFIG_BOARD_NATIVE_SIM)
static const struct adc_dt_spec ph_adc = ADC_DT_SPEC_GET_BY_NAME(DT_PATH(zephyr_user), ph_sensor);
static const struct adc_dt_spec orp_adc = ADC_DT_SPEC_GET_BY_NAME(DT_PATH(zephyr_user), orp_sensor);
static int ipc_fd = -1;
static volatile uint32_t ipc_packet_count;
static char topic_root[NATIVE_SIM_IPC_TOPIC_ROOT_MAX + 1];
static bool temperature_rom_received;

static void remember_topic_root(const char *topic, size_t topic_len, size_t suffix_len)
{
	size_t root_len = topic_len - suffix_len;

	if (root_len == 0 || root_len > NATIVE_SIM_IPC_TOPIC_ROOT_MAX) {
		return;
	}
	memcpy(topic_root, topic, root_len);
	topic_root[root_len] = '\0';
}

static bool topic_ends_with(const char *topic, size_t topic_len, const char *suffix)
{
	size_t suffix_len = strlen(suffix);

	return topic_len > suffix_len &&
		memcmp(topic + topic_len - suffix_len, suffix, suffix_len) == 0;
}

static bool parse_ph_payload(const char *payload, double *ph)
{
	bool dot_seen = false;
	bool digit_seen = false;
	uint32_t whole = 0;
	uint32_t fraction = 0;
	uint32_t scale = 1;

	for (const char *cur = payload; *cur != '\0'; cur++) {
		if (*cur == '.' && !dot_seen) {
			dot_seen = true;
			continue;
		}
		if (*cur < '0' || *cur > '9') {
			return false;
		}
		digit_seen = true;
		if (!dot_seen) {
			whole = whole * 10U + (uint32_t)(*cur - '0');
			if (whole > 14U) return false;
		} else {
			if (scale >= 1000000U) return false;
			scale *= 10U;
			fraction = fraction * 10U + (uint32_t)(*cur - '0');
		}
	}
	if (!digit_seen) return false;
	*ph = (double)whole + ((double)fraction / scale);
	return true;
}

static bool parse_orp_payload(const char *payload, int32_t *orp_mv)
{
	bool negative = false;
	uint32_t value = 0;
	const char *cur = payload;

	if (*cur == '-' || *cur == '+') {
		negative = *cur == '-';
		cur++;
	}
	if (*cur == '\0') return false;
	for (; *cur != '\0'; cur++) {
		if (*cur < '0' || *cur > '9') return false;
		uint32_t digit = (uint32_t)(*cur - '0');
		if (value > (1000U - digit) / 10U) return false;
		value = value * 10U + digit;
	}
	*orp_mv = negative ? -(int32_t)value : (int32_t)value;
	return true;
}

static bool parse_temperature_payload(const char *payload, double *temperature_c)
{
	char *end;
	double value = strtod(payload, &end);

	if (end == payload || *end != '\0' || !isfinite(value) ||
	    value < -55.0 || value > 125.0) {
		return false;
	}
	*temperature_c = value;
	return true;
}

static bool parse_rom_id_payload(const char *payload, uint64_t *rom_id)
{
	char *end;
	unsigned long long value;

	if (strlen(payload) != 16) {
		return false;
	}
	value = strtoull(payload, &end, 16);
	if (end == payload || *end != '\0') {
		return false;
	}
	*rom_id = (uint64_t)value;
	return true;
}

static bool valid_ds18b20_rom_id(uint64_t rom_id)
{
	struct w1_rom rom;

	w1_uint64_to_rom(rom_id, &rom);
	return rom.family == 0x28 &&
		rom.crc == w1_crc8((const uint8_t *)&rom, 7);
}

static void process_ipc_packet(uint8_t *packet, size_t packet_len)
{
	uint8_t topic_len;
	size_t payload_len;
	char *topic;
	char *payload;

	if (packet_len < NATIVE_SIM_IPC_HEADER_SIZE ||
	    memcmp(packet, "GNS1", 4) != 0 || packet[4] != 1) {
		return;
	}

	topic_len = packet[5];
	payload_len = ((size_t)packet[6] << 8) | packet[7];
	if (topic_len == 0 || payload_len == 0 ||
	    packet_len != NATIVE_SIM_IPC_HEADER_SIZE + topic_len + payload_len) {
		return;
	}

	topic = (char *)&packet[NATIVE_SIM_IPC_HEADER_SIZE];
	payload = topic + topic_len;
	if (memchr(topic, '\0', topic_len) != NULL || memchr(payload, '\0', payload_len) != NULL) {
		return;
	}
	payload[payload_len] = '\0';

	if (topic_ends_with(topic, topic_len, NATIVE_SIM_IPC_TOPIC_SUFFIX_PH)) {
		double ph;

		if (parse_ph_payload(payload, &ph) && native_sim_sensor_set_ph(ph) == 0) {
			remember_topic_root(topic, topic_len, strlen(NATIVE_SIM_IPC_TOPIC_SUFFIX_PH));
		}
	} else if (topic_ends_with(topic, topic_len, NATIVE_SIM_IPC_TOPIC_SUFFIX_ORP)) {
		int32_t orp;

		if (parse_orp_payload(payload, &orp) && native_sim_sensor_set_orp(orp) == 0) {
			remember_topic_root(topic, topic_len, strlen(NATIVE_SIM_IPC_TOPIC_SUFFIX_ORP));
		}
	} else if (topic_ends_with(topic, topic_len,
				   NATIVE_SIM_IPC_TOPIC_SUFFIX_TEMPERATURE)) {
		double temperature_c;

		if (parse_temperature_payload(payload, &temperature_c)) {
			native_sim_ds18b20_set_temperature(temperature_c);
		}
	} else if (topic_ends_with(topic, topic_len,
				   NATIVE_SIM_IPC_TOPIC_SUFFIX_TEMPERATURE_ROM)) {
		uint64_t rom_id;

		if (parse_rom_id_payload(payload, &rom_id) &&
		    valid_ds18b20_rom_id(rom_id)) {
			/* The dashboard changes hardware identity, not the firmware's known ID. */
			if (native_sim_ds18b20_set_rom(rom_id) == 0) {
				temperature_rom_received = true;
			}
		}
	}
}

int native_sim_sensor_init(void)
{
	struct sockaddr_in local = {0};
	int ret;

	if (!adc_is_ready_dt(&ph_adc) || !adc_is_ready_dt(&orp_adc)) {
		return -ENODEV;
	}
	ret = native_sim_ds18b20_init();
	if (ret != 0) {
		return ret;
	}

	ipc_fd = socket(AF_INET, SOCK_DGRAM, IPPROTO_UDP);
	if (ipc_fd < 0) {
		return -errno;
	}
	local.sin_family = AF_INET;
	local.sin_addr.s_addr = htonl(INADDR_LOOPBACK);
	local.sin_port = htons(CONFIG_APP_NATIVE_SIM_IPC_PORT);
	if (bind(ipc_fd, (struct sockaddr *)&local, sizeof(local)) != 0) {
		ret = -errno;
		close(ipc_fd);
		ipc_fd = -1;
		return ret;
	}

	ret = native_sim_sensor_set_ph(7.0);
	if (ret != 0) {
		return ret;
	}
	ret = native_sim_sensor_set_orp(0);
	if (ret != 0) {
		return ret;
	}

	/*
	 * The companion replays the Dashboard's retained ROM ID after it connects.
	 * Give that input time to arrive before the firmware scans the 1-Wire bus;
	 * this lets startup compare the EEPROM ID with the virtual sensor's current
	 * identity, as it would after replacing a physical DS18B20.
	 */
	for (int attempt = 0; attempt < 250 && !temperature_rom_received; attempt++) {
		ret = native_sim_sensor_process();
		if (ret < 0) {
			LOG_WRN("Could not process startup sensor inputs: %d", ret);
			break;
		}
		k_sleep(K_MSEC(20));
	}
	if (!temperature_rom_received) {
		LOG_INF("No Dashboard DS18B20 ROM received during startup; using default virtual sensor");
	}

	return 0;
}

int native_sim_sensor_set_ph(double ph)
{
	uint32_t voltage_mv;
	int ret = native_sim_ph_voltage_mv(ph, CONFIG_APP_NATIVE_SIM_PH_GAIN_MV_PER_PH,
		CONFIG_APP_NATIVE_SIM_PH_OFFSET_MV, NATIVE_SIM_ADC_VREF_MV, &voltage_mv);

	if (ret != 0) {
		return ret;
	}
	ret = adc_emul_const_value_set(ph_adc.dev, ph_adc.channel_id, voltage_mv);
	return ret;
}

uint32_t native_sim_sensor_ipc_packet_count(void)
{
#if defined(CONFIG_BOARD_NATIVE_SIM)
	return ipc_packet_count;
#else
	return 0;
#endif
}

int native_sim_sensor_publish_state(const char *suffix, const uint8_t *payload, size_t payload_len)
{
#if defined(CONFIG_BOARD_NATIVE_SIM)
	uint8_t frame[NATIVE_SIM_IPC_MAX_PACKET_SIZE];
	struct sockaddr_in companion = {0};
	size_t root_len = strlen(topic_root);
	size_t suffix_len;
	size_t topic_len;
	size_t frame_len;

	if (suffix == NULL || (payload == NULL && payload_len != 0) || root_len == 0) {
		return -EINVAL;
	}
	suffix_len = strlen(suffix);
	topic_len = root_len + suffix_len;
	frame_len = NATIVE_SIM_IPC_HEADER_SIZE + topic_len + payload_len;
	if (suffix[0] != '/' || topic_len > UINT8_MAX || payload_len > UINT16_MAX ||
	    frame_len > sizeof(frame)) {
		return -EMSGSIZE;
	}
	memcpy(frame, "GNS1", 4);
	frame[4] = 1;
	frame[5] = (uint8_t)topic_len;
	frame[6] = (uint8_t)(payload_len >> 8);
	frame[7] = (uint8_t)payload_len;
	memcpy(frame + NATIVE_SIM_IPC_HEADER_SIZE, topic_root, root_len);
	memcpy(frame + NATIVE_SIM_IPC_HEADER_SIZE + root_len, suffix, suffix_len);
	if (payload_len != 0) {
		memcpy(frame + NATIVE_SIM_IPC_HEADER_SIZE + topic_len, payload, payload_len);
	}
	companion.sin_family = AF_INET;
	companion.sin_addr.s_addr = htonl(INADDR_LOOPBACK);
	companion.sin_port = htons(CONFIG_APP_NATIVE_SIM_COMPANION_IPC_PORT);
	return sendto(ipc_fd, frame, frame_len, 0, (struct sockaddr *)&companion,
		      sizeof(companion)) == (ssize_t)frame_len ? 0 : -EIO;
#else
	ARG_UNUSED(suffix);
	ARG_UNUSED(payload);
	ARG_UNUSED(payload_len);
	return -ENOTSUP;
#endif
}

int native_sim_sensor_process(void)
{
#if defined(CONFIG_BOARD_NATIVE_SIM)
	uint8_t packet[NATIVE_SIM_IPC_MAX_PACKET_SIZE + 1];
	int processed = 0;

	while (true) {
		ssize_t received = recv(ipc_fd, packet, sizeof(packet), MSG_DONTWAIT);

		if (received < 0) {
			return errno == EAGAIN || errno == EWOULDBLOCK ? processed : -errno;
		}
		if (received > 0 && received <= NATIVE_SIM_IPC_MAX_PACKET_SIZE) {
			process_ipc_packet(packet, (size_t)received);
			ipc_packet_count++;
			processed++;
		}
	}
#else
	return -ENOTSUP;
#endif
}

int native_sim_sensor_set_orp(int32_t orp_mv)
{
	uint32_t voltage_mv;
	int ret = native_sim_orp_voltage_mv(orp_mv, CONFIG_APP_NATIVE_SIM_ORP_GAIN_PER_MV,
		CONFIG_APP_NATIVE_SIM_ORP_OFFSET_MV, NATIVE_SIM_ADC_VREF_MV, &voltage_mv);

	if (ret != 0) {
		return ret;
	}
	ret = adc_emul_const_value_set(orp_adc.dev, orp_adc.channel_id, voltage_mv);
	return ret;
}
#else
int native_sim_sensor_init(void) { return -ENOTSUP; }
int native_sim_sensor_set_ph(double ph) { ARG_UNUSED(ph); return -ENOTSUP; }
int native_sim_sensor_set_orp(int32_t orp_mv) { ARG_UNUSED(orp_mv); return -ENOTSUP; }
uint32_t native_sim_sensor_ipc_packet_count(void) { return 0; }
int native_sim_sensor_publish_state(const char *suffix, const uint8_t *payload, size_t payload_len) { ARG_UNUSED(suffix); ARG_UNUSED(payload); ARG_UNUSED(payload_len); return -ENOTSUP; }
int native_sim_sensor_process(void) { return -ENOTSUP; }
#endif
```

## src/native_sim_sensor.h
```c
#ifndef APP_NATIVE_SIM_SENSOR_H_
#define APP_NATIVE_SIM_SENSOR_H_

#include <stddef.h>
#include <stdint.h>

/* Pure transfer helpers are exposed for deterministic model tests. */
int native_sim_ph_voltage_mv(double ph, int32_t gain_mv_per_ph, int32_t offset_mv,
			     uint32_t vref_mv, uint32_t *voltage_mv);
int native_sim_orp_voltage_mv(int32_t orp_mv, int32_t gain_milli, int32_t offset_mv,
			      uint32_t vref_mv, uint32_t *voltage_mv);

/* Native-sim runtime ADC model API. */
int native_sim_sensor_init(void);
int native_sim_sensor_set_ph(double ph);
int native_sim_sensor_set_orp(int32_t orp_mv);
uint32_t native_sim_sensor_ipc_packet_count(void);
int native_sim_sensor_process(void);
int native_sim_sensor_publish_state(const char *suffix, const uint8_t *payload, size_t payload_len);

#endif /* APP_NATIVE_SIM_SENSOR_H_ */
```

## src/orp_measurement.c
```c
#include "orp_measurement.h"

#include <zephyr/kernel.h>
#include <zephyr/logging/log.h>
#include <zephyr/sys/util.h>
#include "common.h"
#include "canopennode.h"

LOG_MODULE_REGISTER(orp_measurement, CONFIG_CANOPEN_LOG_LEVEL);

#if defined(CONFIG_ADC)
#include <zephyr/drivers/adc.h>
static const struct adc_dt_spec orp_sensor = ADC_DT_SPEC_GET_BY_NAME(DT_PATH(zephyr_user), orp_sensor);
static uint16_t *orp_sample_buffer;
static size_t orp_sample_count;
static struct k_mutex orp_mutex;
#endif

#define ORP_MEASUREMENT_MV_REF 3300U

#if defined(CONFIG_ADC)

uint16_t *orp_measurement_alloc_samples(void)
{
    orp_sample_count = (size_t)OD_ORPSamples;
    if (orp_sample_count == 0) {
        LOG_WRN("OD_ORPSamples is zero, allocating one sample buffer.");
        orp_sample_count = 1;
    }

    uint16_t *samples = k_calloc(orp_sample_count, sizeof(uint16_t));
    if (samples == NULL) {
        LOG_ERR("Could not allocate ORP sample array (%zu entries)", orp_sample_count);
    }
    return samples;
}

void orp_measurement_free_samples(uint16_t *samples)
{
    if (samples != NULL) {
        k_free(samples);
    }
}

int orp_measurement_set_sample_count(uint8_t count)
{
    if (count == 0) {
        return -EINVAL;
    }

    uint16_t *new_samples = k_calloc((size_t)count, sizeof(uint16_t));
    if (new_samples == NULL) {
        LOG_ERR("Could not allocate ORP sample array (%u entries)", count);
        return -ENOMEM;
    }

    k_mutex_lock(&orp_mutex, K_FOREVER);
    uint16_t *old = orp_sample_buffer;
    orp_sample_buffer = new_samples;
    orp_sample_count = (size_t)count;
    k_mutex_unlock(&orp_mutex);

    if (old != NULL) {
        k_free(old);
    }
    return 0;
}

int orp_measurement_init(void)
{
    int err;

    if (!adc_is_ready_dt(&orp_sensor)) {
        LOG_ERR("The orp_sensor ADC device is not ready.");
        return -ENODEV;
    }

    err = adc_channel_setup_dt(&orp_sensor);
    if (err != 0) {
        LOG_ERR("ORP sensor ADC channel setup failed: %d", err);
        return err;
    }

    orp_sample_buffer = orp_measurement_alloc_samples();
    if (orp_sample_buffer == NULL) {
        return -ENOMEM;
    }

    k_mutex_init(&orp_mutex);
    return 0;
}

int orp_measurement_read()
{
    int err;

    if (orp_sample_buffer == NULL) {
        LOG_ERR("ORP sample buffer is not allocated.");
        return -ENOMEM;
    }

    struct adc_sequence_options sequence_options = {
        .interval_us = 0,
        .extra_samplings = (uint16_t)(orp_sample_count - 1U),
    };

    struct adc_sequence sequence = {
        .options = &sequence_options,
        .channels = BIT(orp_sensor.channel_id),
        .buffer = orp_sample_buffer,
        .buffer_size = orp_sample_count * sizeof(uint16_t),
        .resolution = orp_sensor.resolution,
    };

    /* lock buffer while performing ADC read and processing */
    k_mutex_lock(&orp_mutex, K_FOREVER);
    err = adc_read(orp_sensor.dev, &sequence);
    if (err != 0) {
        LOG_ERR("ORP sensor ADC read failed: %d", err);
        k_mutex_unlock(&orp_mutex);
        return err;
    }

    uint32_t raw = averagearray(orp_sample_buffer, orp_sample_count);
    k_mutex_unlock(&orp_mutex);

    int32_t voltage_mv = (int32_t)raw;
    err = adc_raw_to_millivolts_dt(&orp_sensor, &voltage_mv);
    if (err != 0) {
        LOG_ERR("ORP ADC conversion to millivolts failed: %d", err);
        return err;
    }

    /* The ORP amplifier is centered at 1.32 V and inverts the probe signal. */
    float orp = 1320.0f - (float)voltage_mv - (float)OD_ORPOffset;

    if (orp < -1000.0f) {
        orp = -1000.0f;
    } else if (orp > 1000.0f) {
        orp = 1000.0f;
    }

    CO_LOCK_OD();
    OD_ORPMeasurement = (float)orp;
    CO_UNLOCK_OD();

    LOG_DBG("ORP measurement raw=%u ORP=%.2fmV", raw, (double)orp);
    return 0;
}

#else

uint16_t *orp_measurement_alloc_samples(void)
{
    return NULL;
}

void orp_measurement_free_samples(uint16_t *samples)
{
    ARG_UNUSED(samples);
}

int orp_measurement_init(void)
{
    LOG_WRN("ORP measurement disabled: ADC support is not enabled.");
    return -ENOTSUP;
}

int orp_measurement_read()
{
    return -ENOTSUP;
}

#endif

float orp_measurement_last_value(void)
{
    return OD_ORPMeasurement;
}
```
